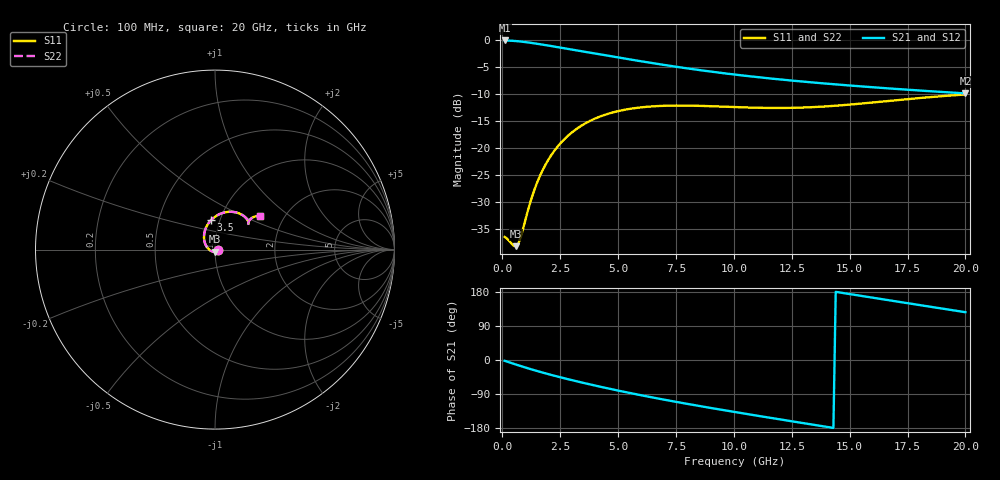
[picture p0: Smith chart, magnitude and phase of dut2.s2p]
! Created with skrf 1.9.0 (http://scikit-rf.org).
# GHz S RI R 50.0
!freq ReS11 ImS11 ReS21 ImS21 ReS12 ImS12 ReS22 ImS22
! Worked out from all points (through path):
!   200 points, 100 MHz to 20 GHz, reference 50 ohm
!   highest |S21| = -0.14 dB at 100 MHz (marker M1); lowest = -9.9 dB at 20 GHz (marker M2)
!   group delay of S21, straight-line fit = 30.6 ps
!   lowest |S11| = -38.1 dB at 600 MHz (marker M3), VSWR 1.03, Z = 50 - j1.24 ohm
!   |S11| at or under -10 dB: start of sweep to end of sweep
!   |S22| runs from -38.1 to -10.1 dB; largest |S21 - S12| = 1.8e-15
!   S11 on the Smith chart (normalised r, x): 100 MHz: 1.03, -0.01; 3.5 GHz: 0.91, +0.30; 20 GHz: 1.51, +0.62
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0.1  0.0148 -0.00299  0.9837 -0.0352  0.9837 -0.0352  0.0148 -0.00299
0.5  0.00484 -0.0115  0.9599 -0.1727  0.9599 -0.1727  0.00484 -0.0115
0.6  0.00058 -0.0124  0.9494 -0.2051  0.9494 -0.2051  0.00058 -0.0124
0.7  -0.00419 -0.0126  0.9375 -0.2366  0.9375 -0.2366  -0.00419 -0.0126
0.8  -0.00933 -0.012  0.9241 -0.267  0.9241 -0.267  -0.00933 -0.012
1.2  -0.0311 -0.00131  0.8594 -0.3764  0.8594 -0.3764  -0.0311 -0.00131
1.4  -0.0411 0.00865  0.8221 -0.4237  0.8221 -0.4237  -0.0411 0.00865
1.6  -0.0495 0.0211  0.7826 -0.4661  0.7826 -0.4661  -0.0495 0.0211
1.9  -0.0581 0.0433  0.7207 -0.521  0.7207 -0.521  -0.0581 0.0433
2.2  -0.0614 0.0677  0.6572 -0.5665  0.6572 -0.5665  -0.0614 0.0677
2.6  -0.0576 0.1008  0.5718 -0.6142  0.5718 -0.6142  -0.0576 0.1008
3.5  -0.0227 0.1635  0.3846 -0.6763  0.3846 -0.6763  -0.0227 0.1635
4.2  0.0178 0.1939  0.2495 -0.6898  0.2495 -0.6898  0.0178 0.1939
4.9  0.0597 0.2083  0.1274 -0.6799  0.1274 -0.6799  0.0597 0.2083
5.8  0.1072 0.2091  -0.00768 -0.6423  -0.00768 -0.6423  0.1072 0.2091
6.8  0.146 0.1965  -0.1287 -0.5795  -0.1287 -0.5795  0.146 0.1965
8.4  0.1786 0.1687  -0.266 -0.4568  -0.266 -0.4568  0.1786 0.1687
10.1  0.1871 0.1482  -0.3524 -0.3188  -0.3524 -0.3188  0.1871 0.1482
11.7  0.1857 0.1431  -0.3915 -0.1922  -0.3915 -0.1922  0.1857 0.1431
13.4  0.1854 0.1503  -0.3978 -0.0665  -0.3978 -0.0665  0.1854 0.1503
16.7  0.207 0.1771  -0.3284 0.1353  -0.3284 0.1353  0.207 0.1771
20  0.2508 0.1858  -0.1885 0.2579  -0.1885 0.2579  0.2508 0.1858
